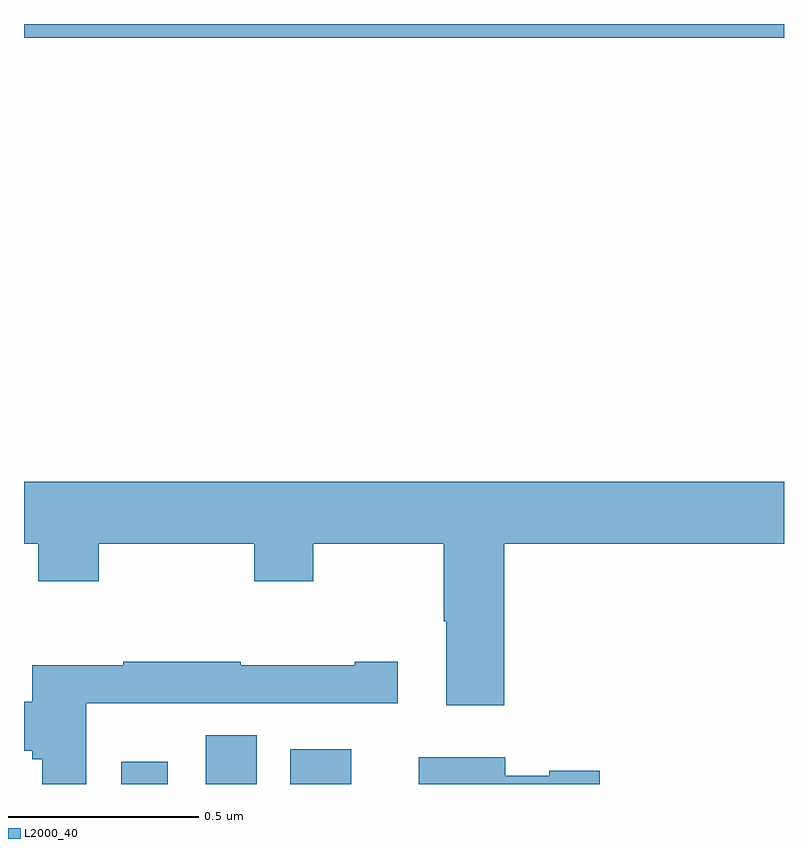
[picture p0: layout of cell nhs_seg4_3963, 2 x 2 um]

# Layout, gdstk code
import gdstk
lib = gdstk.Library(unit=1e-6, precision=1e-09)
def R(c, l, rs):  # rectangles x0, y0, x1, y1
    for r in rs: c.add(gdstk.rectangle(r[:2], r[2:], *l))
def P(c, l, *ps):  # polygons
    for p in ps: c.add(gdstk.Polygon(p, *l))
L2000_40 = (2000, 40)

nhs_seg4_3963 = lib.new_cell('nhs_seg4_3963')
R(nhs_seg4_3963, L2000_40, [(160.256,750.9,160.378,750.958), (160.478,750.9,160.612,751.028), (160.7,750.9,160.861,750.991), (160,752.864,162,752.9)])
P(nhs_seg4_3963, L2000_40, [(161.264,751.532),(162,751.532),(162,751.696),(160,751.696),(160,751.532),(160.037,751.532),(160.037,751.433),(160.197,751.433),(160.197,751.532),(160.606,751.532),(160.606,751.433),(160.761,751.433),(160.761,751.532),(161.104,751.532),(161.104,751.328),(161.111,751.328),(161.111,751.107),(161.264,751.107)],
  [(160.164,751.112),(160.374,751.112),(160.374,751.113),(160.984,751.113),(160.984,751.222),(160.871,751.222),(160.871,751.212),(160.571,751.212),(160.571,751.222),(160.261,751.222),(160.261,751.212),(160.022,751.212),(160.022,751.117),(160,751.117),(160,750.988),(160.022,750.988),(160.022,750.965),(160.048,750.965),(160.048,750.9),(160.164,750.9)],
  [(161.515,750.935),(161.382,750.935),(161.382,750.922),(161.266,750.922),(161.266,750.97),(161.039,750.97),(161.039,750.9),(161.515,750.9)])

lib.write_gds('nhs_seg4_3963.gds')
